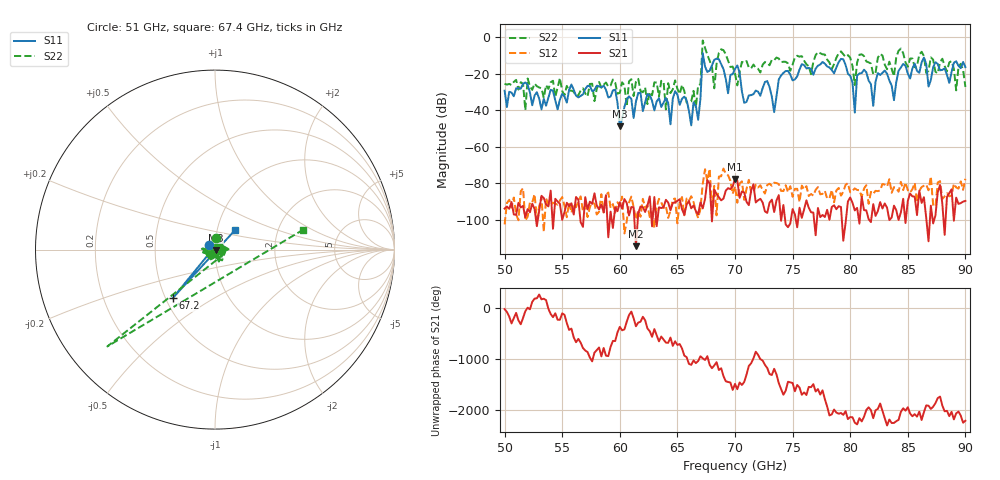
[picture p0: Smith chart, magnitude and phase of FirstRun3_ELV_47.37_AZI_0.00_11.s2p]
! 11/24/2026 3:32:18 PM
! C:\ANRITSUVNA\TEMP\TEMP.S2P
! CHANNEL.1
! TR.MEASUREMENT
! RAW.DATA
# HZ S RI R 50.0
! FREQ.HZ  S11RE  S11IM  S21RE  S21IM  S12RE  S12IM  S22RE  S22IM
!; PortSelection: Port_12
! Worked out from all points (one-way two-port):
!   201 points, 50 GHz to 90 GHz, reference 50 ohm
!   highest |S21| = -77.60 dB at 70 GHz (marker M1); lowest = -114.4 dB at 61.4 GHz (marker M2)
!   lowest |S11| = -48.9 dB at 60 GHz (marker M3), VSWR 1.01, Z = 50.3 - j0.157 ohm
!   |S11| at or under -10 dB: start of sweep to 67.19 GHz; 67.23 GHz to end of sweep
!   |S22| runs from -40.0 to -1.9 dB; largest |S21 - S12| = 0.00024
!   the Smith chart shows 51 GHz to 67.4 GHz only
!   S11 on the Smith chart (normalised r, x): 51 GHz: 0.94, +0.05; 67.2 GHz: 0.54, -0.34; 67.4 GHz: 1.22, +0.27
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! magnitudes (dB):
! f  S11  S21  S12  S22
! 50 GHz  -29.4  -93.8  -102.5  -25.6
! 51 GHz  -28.0  -97.3  -97.0  -23.4
! 51.8 GHz  -24.8  -98.7  -100.4  -40.0
! 56.8 GHz  -31.4  -103.8  -95.2  -28.0
! 59.6 GHz  -28.8  -93.0  -96.1  -25.0
! 60 GHz  -48.9  -90.4  -92.4  -30.5
! 61.4 GHz  -35.3  -114.4  -99.6  -24.5
! 63.4 GHz  -33.4  -93.1  -88.5  -32.6
! 66.8 GHz  -45.3  -97.0  -99.0  -26.5
! 67.2 GHz  -8.9  -93.7  -80.3  -1.9
! 67.4 GHz  -16.1  -88.6  -72.3  -5.9
! 68.2 GHz  -12.5  -83.5  -81.4  -28.0
! 68.8 GHz  -14.8  -89.3  -76.1  -6.7
! 70 GHz  -17.5  -77.6  -81.6  -19.9
! 73.4 GHz  -41.1  -95.7  -79.6  -12.6
! 74.2 GHz  -19.7  -91.8  -84.2  -13.5
! 76.8 GHz  -20.6  -96.0  -86.7  -13.6
! 79.4 GHz  -12.2  -111.4  -84.6  -9.4
! 80.4 GHz  -41.3  -94.8  -82.8  -26.3
! 80.6 GHz  -21.0  -93.4  -83.6  -14.0
! 83.4 GHz  -23.8  -100.1  -77.7  -13.5
! 90 GHz  -16.4  -89.6  -77.5  -27.3
